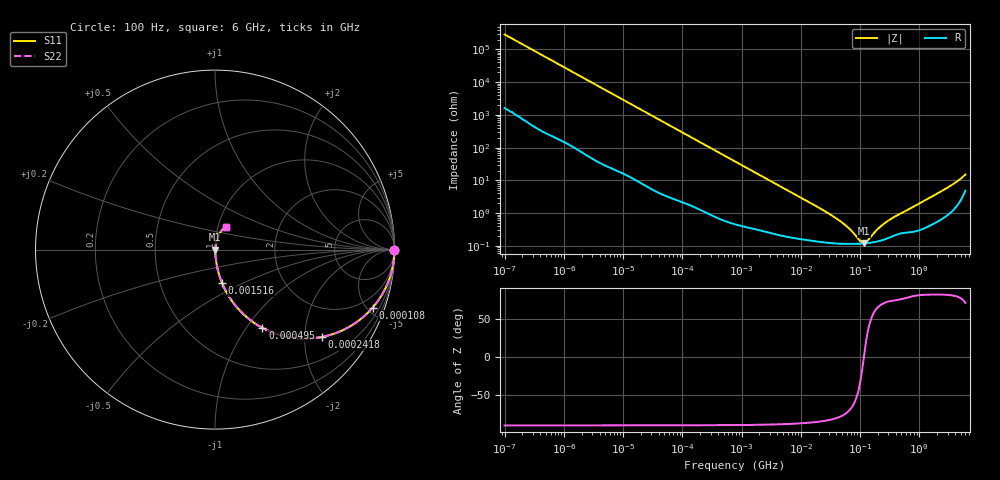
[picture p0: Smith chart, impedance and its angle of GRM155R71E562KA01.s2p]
!Murata Part Number: GRM155R71E562KA01
!These Parameters are Measured in Series Mode Connection
!Data Generated on Mar 30, 2021
!  o--ll--o
!Port1  Port2
!  o------o
!Operation Temp=25[degC], DC Bias Voltage=0[V]
!Freq. Start=100[Hz] Stop=6[GHz] 401[Steps]
# Hz S RI R 50
!Freq.(Hz) S11(Real) S11(Imag) S21(Real) S21(Imag) S12(Real) S12(Imag) S22(Real) S22(Imag)
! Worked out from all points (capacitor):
!   401 points, 100 Hz to 6 GHz, reference 50 ohm
!   read as one part in series: C = 5.56 nF near 109 Hz
!   lowest |Z| = 120 mohm at 116.7 MHz (marker M1)
!   series resonance near 115.9 MHz, so ESL is about 340 pH
!   S11 on the Smith chart (normalised r, x): 100 Hz: open; 108 kHz: 1.04, -5.42; 241.8 kHz: 1.02, -2.43; 495 kHz: 1.01, -1.19; 1.516 MHz: 1.01, -0.39; 6 GHz: 1.10, +0.29
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100  1 -0.00035  2.1e-06 0.00035  2.1e-06 0.00035  1 -0.00035
2008  0.9999 -0.00695  8.32e-05 0.00695  8.32e-05 0.00695  0.9999 -0.00695
12592  0.9979 -0.0432  0.00212 0.0432  0.00212 0.0432  0.9979 -0.0432
40335  0.9805 -0.1355  0.0195 0.1355  0.0195 0.1355  0.9805 -0.1355
108014  0.8783 -0.3232  0.1217 0.3232  0.1217 0.3232  0.8783 -0.3232
161617  0.7653 -0.4197  0.2347 0.4197  0.2347 0.4197  0.7653 -0.4197
241822  0.5956 -0.4864  0.4044 0.4864  0.4044 0.4864  0.5956 -0.4864
345986  0.4209 -0.4891  0.5791 0.4891  0.5791 0.4891  0.4209 -0.4891
495019  0.2641 -0.4358  0.7359 0.4358  0.7359 0.4358  0.2641 -0.4358
774597  0.13 -0.3303  0.87 0.3303  0.87 0.3303  0.13 -0.3303
1516199  0.0399 -0.1872  0.9601 0.1872  0.9601 0.1872  0.0399 -0.1872
4060267  0.00754 -0.0729  0.9925 0.0729  0.9925 0.0729  0.00754 -0.0729
1.555665e7  0.0018 -0.0191  0.9982 0.0191  0.9982 0.0191  0.0018 -0.0191
4.764863e7  0.0012 -0.00536  0.9988 0.00536  0.9988 0.00536  0.0012 -0.00536
6.817316e7  0.00116 -0.00295  0.9988 0.00295  0.9988 0.00295  0.00116 -0.00295
1.020051e8  0.00118 -0.000679  0.9988 0.000679  0.9988 0.000679  0.00118 -0.000679
1.166697e8  0.00119 3.51e-05  0.9988 -3.51e-05  0.9988 -3.51e-05  0.00119 3.51e-05
1.334425e8  0.00122 0.000749  0.9988 -0.000749  0.9988 -0.000749  0.00122 0.000749
2.088084e8  0.00142 0.00327  0.9986 -0.00327  0.9986 -0.00327  0.00142 0.00327
3.124326e8  0.00183 0.00595  0.9982 -0.00595  0.9982 -0.00595  0.00183 0.00595
2.802721e9  0.0109 0.0544  0.9891 -0.0544  0.9891 -0.0544  0.0109 0.0544
6e9  0.064 0.1278  0.936 -0.1278  0.936 -0.1278  0.064 0.1278
